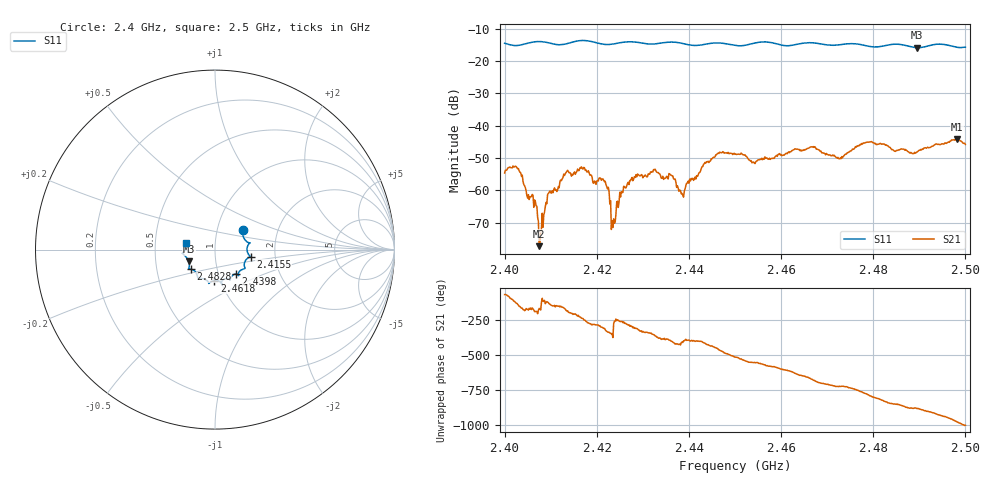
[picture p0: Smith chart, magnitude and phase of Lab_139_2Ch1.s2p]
# Hz S RI R 50
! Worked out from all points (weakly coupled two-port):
!   601 points, 2.4 GHz to 2.5 GHz, reference 50 ohm
!   highest |S21| = -44.25 dB at 2.4982 GHz (marker M1); lowest = -77.2 dB at 2.4075 GHz (marker M2)
!   lowest |S11| = -15.9 dB at 2.4895 GHz (marker M3), VSWR 1.38, Z = 36.9 - j5.01 ohm
!   |S11| at or under -10 dB: start of sweep to end of sweep
!   S12 and S22 are empty: the file has one direction only
!   S11 on the Smith chart (normalised r, x): 2.4 GHz: 1.33, +0.29; 2.4155 GHz: 1.49, -0.12; 2.4398 GHz: 1.21, -0.34; 2.4618 GHz: 0.94, -0.33; 2.4828 GHz: 0.74, -0.17; 2.5 GHz: 0.72, +0.06
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2.4e9  0.1551 0.1065  0.000804 -0.00167  0 0  0 0
2.403333e9  0.167 0.0548  -0.00166 -0.000937  0 0  0 0
2.4065e9  0.1943 0.0375  -0.000708 7.99e-05  0 0  0 0
2.4075e9  0.1959 0.0382  -0.000132 -3.77e-05  0 0  0 0
2.409833e9  0.1863 0.0286  -0.000676 -0.00071  0 0  0 0
2.4155e9  0.1978 -0.0395  -0.00166 0.000878  0 0  0 0
2.416667e9  0.2027 -0.0431  -0.00137 0.00186  0 0  0 0
2.421667e9  0.1702 -0.0605  0.00083 0.00109  0 0  0 0
2.423667e9  0.1629 -0.0846  2.98e-05 0.000362  0 0  0 0
2.427167e9  0.1686 -0.1039  0.000516 0.00132  0 0  0 0
2.433333e9  0.1298 -0.1339  0.00182 -0.000517  0 0  0 0
2.438333e9  0.1269 -0.1392  0.000576 -0.000676  0 0  0 0
2.439833e9  0.1153 -0.1361  0.00118 -0.000738  0 0  0 0
2.45e9  0.0649 -0.1616  -0.00326 -0.00156  0 0  0 0
2.461833e9  -0.00291 -0.1727  -0.00111 0.00367  0 0  0 0
2.466667e9  -0.0345 -0.1881  0.00319 0.00347  0 0  0 0
2.4725e9  -0.0758 -0.1603  0.00307 -0.000345  0 0  0 0
2.482833e9  -0.1363 -0.1088  -0.00218 -0.00456  0 0  0 0
2.483333e9  -0.1401 -0.1086  -0.00256 -0.00398  0 0  0 0
2.4895e9  -0.1464 -0.066  -0.00376 -0.00111  0 0  0 0
2.498167e9  -0.1628 0.00766  -0.00119 0.00601  0 0  0 0
2.5e9  -0.1594 0.0392  0.00115 0.00501  0 0  0 0
